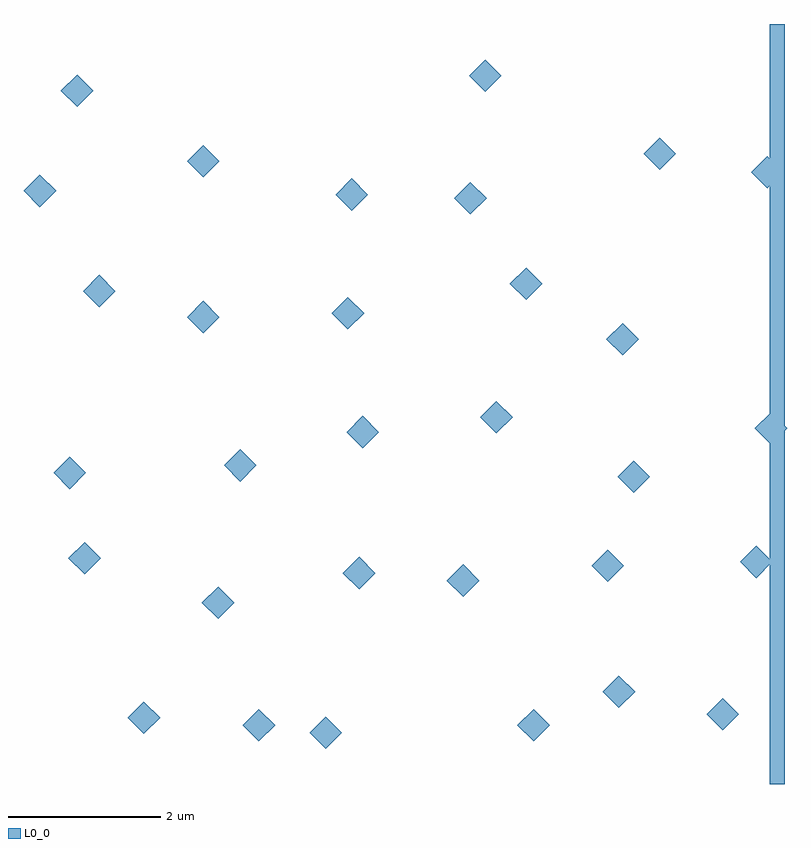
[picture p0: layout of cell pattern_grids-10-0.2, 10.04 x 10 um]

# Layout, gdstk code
import gdstk
lib = gdstk.Library(unit=1e-6, precision=1e-11)
def R(c, l, rs):  # rectangles x0, y0, x1, y1
    for r in rs: c.add(gdstk.rectangle(r[:2], r[2:], *l))
def P(c, l, *ps):  # polygons
    for p in ps: c.add(gdstk.Polygon(p, *l))
L0_0 = (0, 0)

pattern_grids_10_0_2 = lib.new_cell('pattern_grids-10-0.2')
R(pattern_grids_10_0_2, L0_0, [(10,0,10.2,10)])
P(pattern_grids_10_0_2, L0_0, [(2.7428,2.172),(2.5307,2.3842),(2.7428,2.5963),(2.9549,2.3842)],
  [(3.0358,3.9787),(2.8236,4.1908),(3.0358,4.4029),(3.2479,4.1908)],
  [(3.2799,0.5607),(3.0678,0.7728),(3.2799,0.985),(3.492,0.7728)],
  [(4.1588,0.4631),(3.9467,0.6752),(4.1588,0.8873),(4.3709,0.6752)],
  [(1.7662,0.6584),(1.5541,0.8705),(1.7662,1.0826),(1.9784,0.8705)],
  [(0.985,2.758),(0.7728,2.9701),(0.985,3.1822),(1.1971,2.9701)],
  [(4.5983,2.5627),(4.3861,2.7748),(4.5983,2.9869),(4.8104,2.7748)],
  [(5.9654,2.465),(5.7533,2.6771),(5.9654,2.8893),(6.1776,2.6771)],
  [(8.2115,3.8322),(7.9994,4.0443),(8.2115,4.2565),(8.4237,4.0443)],
  [(6.8932,0.5607),(6.681,0.7728),(6.8932,0.985),(7.1053,0.7728)],
  [(7.8697,2.6603),(7.6576,2.8725),(7.8697,3.0846),(8.0819,2.8725)],
  [(9.3834,0.7072),(9.1713,0.9193),(9.3834,1.1315),(9.5955,0.9193)],
  [(9.8229,2.7092),(9.6107,2.9213),(9.8229,3.1334),(10.035,2.9213)],
  [(8.0162,1.0002),(7.8041,1.2123),(8.0162,1.4244),(8.2284,1.2123)],
  [(10.0182,4.467),(9.806,4.6791),(10.0182,4.8912),(10.2303,4.6791)],
  [(6.4049,4.6134),(6.1928,4.8256),(6.4049,5.0377),(6.617,4.8256)],
  [(6.2584,9.1056),(6.0463,9.3178),(6.2584,9.5299),(6.4705,9.3178)],
  [(6.0631,7.4943),(5.851,7.7064),(6.0631,7.9186),(6.2752,7.7064)],
  [(6.7955,6.3713),(6.5834,6.5834),(6.7955,6.7955),(7.0077,6.5834)],
  [(8.0651,5.6388),(7.8529,5.851),(8.0651,6.0631),(8.2772,5.851)],
  [(8.5533,8.0802),(8.3412,8.2924),(8.5533,8.5045),(8.7655,8.2924)],
  [(9.9694,7.8361),(9.7572,8.0482),(9.9694,8.2604),(10.1815,8.0482)],
  [(0.8873,8.9103),(0.6752,9.1225),(0.8873,9.3346),(1.0995,9.1225)],
  [(1.1803,6.2736),(0.9682,6.4857),(1.1803,6.6979),(1.3924,6.4857)],
  [(2.5475,5.9318),(2.3353,6.1439),(2.5475,6.3561),(2.7596,6.1439)],
  [(2.5475,7.9826),(2.3353,8.1947),(2.5475,8.4069),(2.7596,8.1947)],
  [(4.4518,5.9806),(4.2396,6.1928),(4.4518,6.4049),(4.6639,6.1928)],
  [(4.5006,7.5431),(4.2885,7.7553),(4.5006,7.9674),(4.7127,7.7553)],
  [(0.399,7.592),(0.1869,7.8041),(0.399,8.0162),(0.6112,7.8041)],
  [(4.6471,4.4181),(4.435,4.6303),(4.6471,4.8424),(4.8592,4.6303)],
  [(0.7897,3.881),(0.5775,4.0932),(0.7897,4.3053),(1.0018,4.0932)])

lib.write_gds('pattern_grids-10-0.2.gds')
